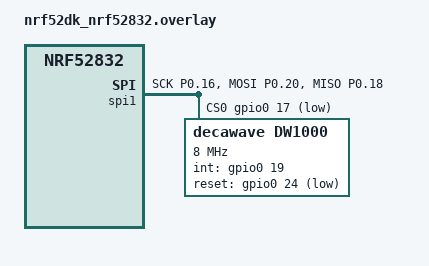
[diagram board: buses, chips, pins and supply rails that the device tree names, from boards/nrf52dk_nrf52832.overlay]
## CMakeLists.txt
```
cmake_minimum_required(VERSION 3.20.0)

# *** NOTE — Why we do NOT use add_subdirectory() here ***
#
# See samples/dw1000_config/CMakeLists.txt for the full rationale: samples
# live outside the NCS module tree, so zephyr_library() inside
# drivers/dw1000/CMakeLists.txt would be compiled but never linked if pulled
# in via add_subdirectory(). Instead, compile the driver sources directly
# into the 'app' target, same as every other sample in this repo.

find_package(Zephyr REQUIRED HINTS $ENV{ZEPHYR_BASE})
project(tag_tracking_sample VERSION 0.1.0)

set(DW1000_DIR ${CMAKE_CURRENT_SOURCE_DIR}/../../drivers/dw1000)

target_sources(app PRIVATE
    src/main.c
    ${DW1000_DIR}/deca_driver/deca_device.c
    ${DW1000_DIR}/deca_driver/deca_params_init.c
    ${DW1000_DIR}/port/deca_port.c   # strong SPI/GPIO port defs (no stub needed)
    ${DW1000_DIR}/dw1000_config.c
    ${DW1000_DIR}/dw1000_ranging.c
    ${DW1000_DIR}/dw1000_sync.c
    ${DW1000_DIR}/uwb_cycle_ref.c
    ${DW1000_DIR}/uwb_slot_timing.c
    ${DW1000_DIR}/uwb_blink_codec.c
    ${DW1000_DIR}/uwb_tracking.c
)

target_include_directories(app PRIVATE
    ${DW1000_DIR}/deca_driver   # deca_device_api.h, deca_regs.h
    ${DW1000_DIR}/port          # deca_port.h
    ${DW1000_DIR}               # dw1000_config.h, phy_config.h, dw1000_ranging.h,
                                 # dw1000_sync.h, uwb_cycle_ref.h, uwb_slot_timing.h,
                                 # uwb_blink_codec.h, uwb_tracking.h, uwb_frames.h
)

# deca_port.c includes <zephyr/drivers/spi.h> which pulls in offsets.h
# (generated at build time). Same dependency as in drivers/dw1000/CMakeLists.
add_dependencies(app offsets_h)
```

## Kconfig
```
# samples/tag_tracking/Kconfig
#
# Kconfig root for the tag_tracking sample.
#
# Zephyr's build system uses APPLICATION_SOURCE_DIR/Kconfig as the Kconfig root
# when it exists. Because samples live outside the repo root, they need their
# own Kconfig to source the DW1000 driver config at the correct relative path.

source "$(ZEPHYR_BASE)/Kconfig"
source "$(APPLICATION_SOURCE_DIR)/../../drivers/dw1000/Kconfig"

config TAG_TRACKING_SAMPLE_SELF_ADDR
	hex "This tag's 16-bit short address for the tag_tracking sample"
	default 0x0003
	range 0x0000 0xFFFD
	help
	  Placeholder short address embedded as this tag's blink src_addr.

	  Real slot/address assignment is the Aloha join/registration flow
	  (UWB-9/10/11, out of scope for this sample and for UWB-252). Until
	  that exists, bring-up testing hand-configures this value.

	  Must not be UWB_ADDR_BROADCAST (0xFFFF) or UWB_ADDR_UNASSIGNED
	  (0xFFFE, drivers/dw1000/uwb_frames.h) -- both are reserved.

config TAG_TRACKING_SAMPLE_SLOT_IDX
	int "This tag's assigned TDMA slot index (0-based)"
	default 0
	range 0 255
	help
	  Placeholder TDMA slot index passed to uwb_tracking_run_cycle() via
	  uwb_tracking_config_t::slot_idx.

	  Real slot assignment is the Aloha join/registration flow (UWB-11,
	  out of scope for this sample and for UWB-252). Until that exists,
	  bring-up testing hand-configures this value to a slot that does not
	  collide with any other tag under test.

	  Must be strictly less than TAG_TRACKING_SAMPLE_SLOT_COUNT.

config TAG_TRACKING_SAMPLE_SLOT_COUNT
	int "Number of TDMA slots in the superframe"
	default 24
	range 1 255
	help
	  Placeholder superframe slot count passed to uwb_tracking_run_cycle()
	  via uwb_tracking_config_t::slot_count.

	  ADR-001 targets a ~24-slot superframe -- see uwb_slot_timing.h.
	  Statically provisioned per installation (not transmitted in-frame,
	  see the sync frame layout note in drivers/dw1000/uwb_frames.h).

config TAG_TRACKING_SAMPLE_SLOT_DURATION_DTU
	int "Per-slot duration, DW1000 time units (DTU), inclusive of guard band"
	default 32000000
	range 1 2000000000
	help
	  Placeholder per-slot duration passed to uwb_tracking_run_cycle() via
	  uwb_tracking_config_t::slot_duration_dtu -- see uwb_slot_timing.h for
	  the "guard time lives in slot_duration_dtu" rationale.

	  Units: DW1000 time units (DTU). 1 DTU = 1 / (128 x 499.2 MHz)
	  ~= 15.65 ps. Default 32,000,000 DTU ~= 0.5 ms, matching ADR-001's
	  target superframe slot width.

	  This is a starting point, not a calibrated value -- tune empirically
	  once real superframe timing (UWB-9) and channel conditions are
	  measured.

config TAG_TRACKING_SAMPLE_SYNC_TIMEOUT_US
	int "RX timeout waiting for the master's SYNC frame each cycle (microseconds)"
	default 50000
	range 0 4000000
	help
	  Hardware RX timeout (forwarded to dw1000_sync_rx() / dw1000_rx(),
	  UWB-231/UWB-242) while this tag listens for the next cycle's SYNC
	  frame.

	  Units: microseconds. 0 disables the hardware timeout (the tag would
	  then block indefinitely waiting for a SYNC instead of returning
	  UWB_TRACKING_NO_VALID_REF / cycling) -- not recommended.

	  Default 50,000 us (50 ms): comfortably longer than one superframe
	  cycle at the slot/count defaults above, so a genuinely missed SYNC is
	  distinguishable from one that simply has not arrived yet. Tune
	  empirically once the real superframe cadence (UWB-9) is fixed.
```

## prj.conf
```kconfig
# samples/tag_tracking/prj.conf
# TDoA tag tracking (blinker) loop sample — project configuration

# ---------------------------------------------------------------------------
# DW1000 UWB transceiver driver
# ---------------------------------------------------------------------------
CONFIG_DW1000=y
CONFIG_SPI=y
CONFIG_GPIO=y

# ---------------------------------------------------------------------------
# Logging
# ---------------------------------------------------------------------------
CONFIG_LOG=y
CONFIG_LOG_DEFAULT_LEVEL=3
CONFIG_LOG_BACKEND_RTT=y
CONFIG_USE_SEGGER_RTT=y
CONFIG_LOG_BACKEND_UART=y
CONFIG_BOOT_BANNER=y

# ---------------------------------------------------------------------------
# Console
# ---------------------------------------------------------------------------
CONFIG_SERIAL=y
CONFIG_UART_CONSOLE=y

CONFIG_SYSTEM_WORKQUEUE_STACK_SIZE=2048
```

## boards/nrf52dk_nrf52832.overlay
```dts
/*
 * DWM1001 module overlay for the tag_tracking sample.
 *
 * Identical to samples/dw1000_config/boards/nrf52dk_nrf52832.overlay,
 * samples/dw1000_devid/boards/nrf52dk_nrf52832.overlay, and
 * samples/twr_responder/boards/nrf52dk_nrf52832.overlay. Duplicated because
 * each Zephyr application sources its own board overlay.
 */

#include <zephyr/dt-bindings/gpio/gpio.h>

&pinctrl {
	spi1_default: spi1_default {
		group1 {
			psels = <NRF_PSEL(SPIM_SCK,  0, 16)>,
				<NRF_PSEL(SPIM_MOSI, 0, 20)>,
				<NRF_PSEL(SPIM_MISO, 0, 18)>;
		};
	};

	spi1_sleep: spi1_sleep {
		group1 {
			psels = <NRF_PSEL(SPIM_SCK,  0, 16)>,
				<NRF_PSEL(SPIM_MOSI, 0, 20)>,
				<NRF_PSEL(SPIM_MISO, 0, 18)>;
			low-power-enable;
		};
	};
};

&spi1 {
	compatible = "nordic,nrf-spi";
	status = "okay";
	pinctrl-0 = <&spi1_default>;
	pinctrl-1 = <&spi1_sleep>;
	pinctrl-names = "default", "sleep";
	cs-gpios = <&gpio0 17 GPIO_ACTIVE_LOW>;

	dw1000: dw1000@0 {
		compatible = "decawave,dw1000";
		reg = <0>;
		spi-max-frequency = <8000000>;
		int-gpios   = <&gpio0 19 GPIO_ACTIVE_HIGH>;
		reset-gpios = <&gpio0 24 GPIO_ACTIVE_LOW>;
	};
};
```

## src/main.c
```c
/*! ----------------------------------------------------------------------------
 * @file    main.c
 * @brief   TDoA tag tracking (blinker) loop sample (UWB-252)
 *
 * Runs dw1000_port_init() -> dw1000_configure() -> repeatedly calls
 * uwb_tracking_run_cycle() once per superframe cycle with this device's
 * placeholder tracking configuration (CONFIG_TAG_TRACKING_SAMPLE_* -- real
 * slot/address assignment is the Aloha join/registration flow, UWB-9/10/11,
 * out of scope here), logging the outcome of every cycle.
 *
 * NOTE: This sample requires an on-target run with a real DWM1001 module
 *       hearing SYNC frames from a clock-master anchor (or a second DWM1001
 *       standing in for one, see drivers/dw1000/uwb_tracking.h's on-hardware
 *       bring-up checklist) -- see this directory's README.md. For headless
 *       CI verification see tests/tracking/ (ztest).
 *
 * Build:   west build -b nrf52dk_nrf52832 samples/tag_tracking
 * Flash:   west flash
 *
 * @attention
 * SPDX-License-Identifier: MIT
 * Copyright (c) 2024 Fundamentals UWB project contributors.
 */

#include <stdbool.h>

#include <zephyr/kernel.h>
#include <zephyr/logging/log.h>

#include "deca_port.h"
#include "dw1000_config.h"
#include "uwb_cycle_ref.h"
#include "uwb_tracking.h"

LOG_MODULE_REGISTER(tag_tracking_sample, LOG_LEVEL_DBG);

static const char *outcome_str(uwb_tracking_outcome_t outcome)
{
    switch (outcome) {
    case UWB_TRACKING_BLINKED:
        return "BLINKED";
    case UWB_TRACKING_NO_VALID_REF:
        return "NO_VALID_REF";
    case UWB_TRACKING_MISSED_WINDOW:
        return "MISSED_WINDOW";
    case UWB_TRACKING_BUILD_ERROR:
        return "BUILD_ERROR";
    default:
        return "UNKNOWN";
    }
}

int main(void)
{
    int ret;
    const uwb_tracking_config_t cfg = {
        .self_addr = (uint16_t)CONFIG_TAG_TRACKING_SAMPLE_SELF_ADDR,
        .slot_idx = (uint32_t)CONFIG_TAG_TRACKING_SAMPLE_SLOT_IDX,
        .slot_count = (uint32_t)CONFIG_TAG_TRACKING_SAMPLE_SLOT_COUNT,
        .slot_duration_dtu = (uint32_t)CONFIG_TAG_TRACKING_SAMPLE_SLOT_DURATION_DTU,
    };
    uwb_tracking_state_t state;

    LOG_INF("Tag tracking sample starting -- self_addr = 0x%04X, slot %u/%u, "
            "slot_duration_dtu = %u",
            cfg.self_addr, (unsigned)cfg.slot_idx, (unsigned)cfg.slot_count,
            (unsigned)cfg.slot_duration_dtu);

    ret = dw1000_port_init();
    if (ret < 0) {
        LOG_ERR("dw1000_port_init failed: %d", ret);
        return ret;
    }

    ret = dw1000_configure();
    if (ret < 0) {
        LOG_ERR("dw1000_configure failed: %d -- check SPI wiring", ret);
        return ret;
    }

    LOG_INF("dw1000_configure() OK -- entering tag tracking (blinker) loop");

    uwb_tracking_state_init(&state);

    while (1) {
        uwb_tracking_outcome_t outcome = uwb_tracking_run_cycle(
            &cfg, &state,
            (uint32_t)CONFIG_TAG_TRACKING_SAMPLE_SYNC_TIMEOUT_US);

        uint64_t sync_rx_ts;
        uint16_t cycle_seq = 0;
        bool ref_valid =
            uwb_cycle_ref_get(&state.cycle_ref, &sync_rx_ts, &cycle_seq);

        if (outcome == UWB_TRACKING_BLINKED) {
            LOG_INF("cycle_seq=0x%04X blink_count=%u: %s", cycle_seq,
                    (unsigned)state.blink_count, outcome_str(outcome));
        } else if (ref_valid) {
            /* Reference is valid (still within CONFIG_UWB_SYNC_MAX_MISSED
             * tolerance) but this cycle did not produce a transmitted blink
             * (UWB_TRACKING_MISSED_WINDOW / UWB_TRACKING_BUILD_ERROR). */
            LOG_WRN("cycle_seq=0x%04X blink_count=%u: %s", cycle_seq,
                    (unsigned)state.blink_count, outcome_str(outcome));
        } else {
            /* UWB_TRACKING_NO_VALID_REF -- never synced, or sync lost. */
            LOG_DBG("blink_count=%u: %s (no valid cycle reference)",
                    (unsigned)state.blink_count, outcome_str(outcome));
        }
    }

    /* Unreachable; main() returning is treated as an error in Zephyr. */
    return 0;
}
```
